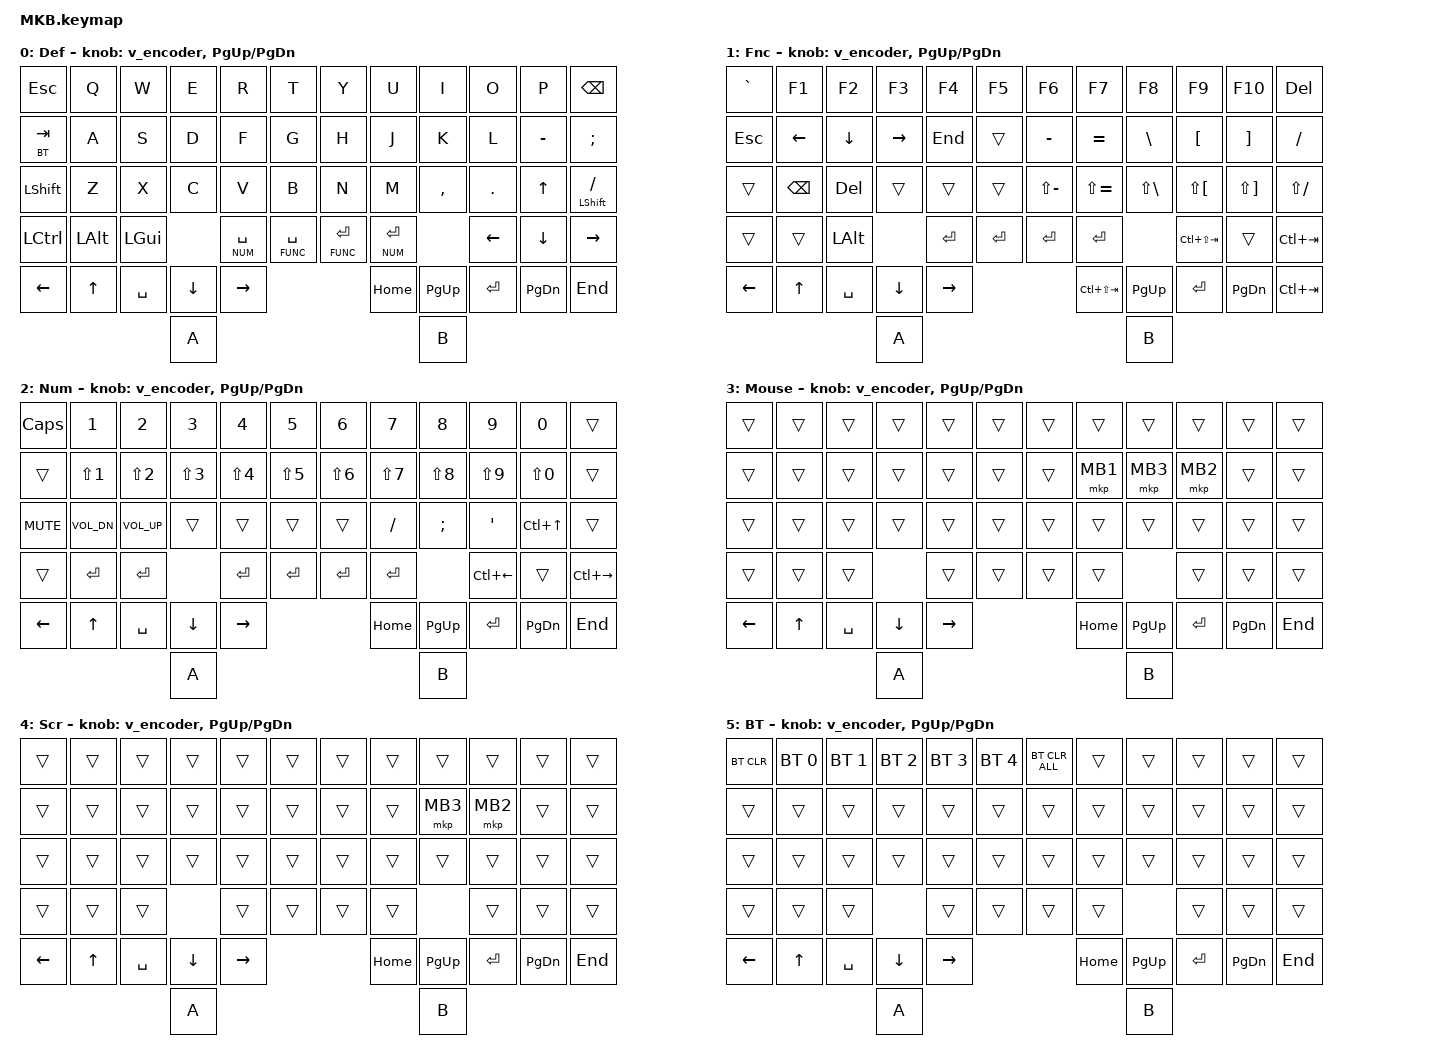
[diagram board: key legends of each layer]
#include <behaviors.dtsi>
#include <dt-bindings/zmk/bt.h>
#include <dt-bindings/zmk/keys.h>
#include <dt-bindings/zmk/pointing.h>
#include <layout_shift_kp_override.dtsi>

#define DEF 0
#define FUNC 1
#define NUM 2
#define MOUSE 3
#define SCROLL 4
#define BT 5

&mt {
    flavor = "balanced";
    tapping-term-ms = <280>;
    quick-tap-ms = <175>;
    require-prior-idle-ms = <150>;
};

/ {
    macros {
        vol_up_2: vol_up_2 {
            compatible = "zmk,behavior-macro";
            #binding-cells = <0>;
            bindings = <&kp C_VOL_UP &kp C_VOL_UP>;
        };
        vol_dn_2: vol_dn_2 {
            compatible = "zmk,behavior-macro";
            #binding-cells = <0>;
            bindings = <&kp C_VOL_DN &kp C_VOL_DN>;
        };
    };

    behaviors {
        v_encoder: volume_encoder {
            compatible = "zmk,behavior-sensor-rotate";
            #sensor-binding-cells = <0>;
            bindings = <&vol_dn_2>, <&vol_up_2>;
            tap-ms = <20>;
        };

        /* 右手側ビルド時のみマクロを定義 */
#ifdef MKB_R_TB
        scr_on: scr_on {
            compatible = "zmk,behavior-macro";
            #binding-cells = <0>;
            bindings = <&macro_tap &scroll_mode>;
        };
#endif /* これが漏れていました */
    };

    combos {
        compatible = "zmk,combos";
        combo_lclk { timeout-ms = <50>; key-positions = <19 20>; bindings = <&mkp LCLK>; };
        combo_rclk { timeout-ms = <50>; key-positions = <20 21>; bindings = <&mkp RCLK>; };
        combo_mclk { timeout-ms = <50>; key-positions = <19 21>; bindings = <&mkp MCLK>; };
    };

    keymap {
        compatible = "zmk,keymap";

        default_layer {
            label = "Def";
            bindings = <
&kp ESC       &kp Q     &kp W      &kp E     &kp R          &kp T               &kp Y           &kp U          &kp I      &kp O      &kp P      &kp BKSP
&lt BT TAB    &kp A     &kp S      &kp D     &kp F          &kp G               &kp H           &kp J          &kp K      &kp L      &kp MINUS  &kp SEMI
&kp LSHFT     &kp Z     &kp X      &kp C     &kp V          &kp B               &kp N           &kp M          &kp COMMA  &kp DOT    &kp UP     &mt LSHFT FSLH
&kp LCTL      &kp LALT  &kp LGUI             &lt NUM SPACE  &lt FUNC SPACE      &lt FUNC ENTER  &lt NUM ENTER             &kp LEFT   &kp DOWN   &kp RIGHT
&kp LEFT      &kp UP    &kp SPACE  &kp DOWN  &kp RIGHT                                          &kp HOME       &kp PG_UP  &kp ENTER  &kp PG_DN  &kp END
                                   &kp A                                                                       &kp B
            >;
            sensor-bindings = <&v_encoder &inc_dec_kp PG_UP PG_DN>;
        };

        function_layer {
            label = "Fnc";
            bindings = <
&kp GRAVE  &kp F1     &kp F2     &kp F3     &kp F4     &kp F5        &kp F6     &kp F7     &kp F8     &kp F9     &kp F10    &kp DEL
&kp ESC    &kp LEFT   &kp DOWN   &kp RIGHT  &kp END    &trans         &kp MINUS  &kp EQUAL  &kp BSLH   &kp LBKT   &kp RBKT   &kp FSLH
&trans     &kp BKSP   &kp DEL    &trans     &trans     &trans         &kp LS(MINUS) &kp LS(EQUAL) &kp LS(BSLH) &kp LS(LBKT) &kp LS(RBKT) &kp LS(FSLH)
&trans     &trans     &kp LALT              &kp ENTER  &kp ENTER      &kp ENTER  &kp ENTER             &kp LC(LS(TAB)) &trans     &kp LC(TAB)
&kp LEFT   &kp UP     &kp SPACE  &kp DOWN   &kp RIGHT                            &kp LC(LS(TAB)) &kp PG_UP  &kp ENTER  &kp PG_DN  &kp LC(TAB)
                                 &kp A                                                      &kp B
            >;
            sensor-bindings = <&v_encoder &inc_dec_kp PG_UP PG_DN>;
        };

        num_layer {
            label = "Num";
            bindings = <
&kp CAPS         &kp N1         &kp N2     &kp N3    &kp N4     &kp N5         &kp N6     &kp N7     &kp N8     &kp N9     &kp N0     &trans
&trans           &kp LS(N1)     &kp LS(N2) &kp LS(N3) &kp LS(N4) &kp LS(N5)   &kp LS(N6) &kp LS(N7) &kp LS(N8) &kp LS(N9) &kp LS(N0) &trans
&kp C_MUTE       &kp C_VOL_DN   &kp C_VOL_UP &trans   &trans     &trans         &trans     &kp FSLH   &kp SEMI   &kp SQT    &kp LC(UP) &trans
&trans           &kp ENTER      &kp ENTER            &kp ENTER  &kp ENTER      &kp ENTER  &kp ENTER             &kp LC(LEFT) &trans     &kp LC(RIGHT)
&kp LEFT         &kp UP         &kp SPACE  &kp DOWN  &kp RIGHT                            &kp HOME   &kp PG_UP  &kp ENTER  &kp PG_DN  &kp END
                                           &kp A                                                     &kp B
            >;
            sensor-bindings = <&v_encoder &inc_dec_kp PG_UP PG_DN>;
        };

        mouse_layer {
            label = "Mouse";
            bindings = <
&trans    &trans  &trans     &trans    &trans     &trans      &trans  &trans    &trans     &trans     &trans     &trans
&trans    &trans  &trans     &trans    &trans     &trans      &trans  &mkp MB1   &mkp MB3   &mkp MB2  &trans     &trans
&trans    &trans  &trans     &trans    &trans     &trans      &trans  &trans    &trans     &trans     &trans     &trans
&trans    &trans  &trans               &trans     &trans      &trans  &trans               &trans     &trans     &trans
&kp LEFT  &kp UP  &kp SPACE  &kp DOWN  &kp RIGHT                      &kp HOME  &kp PG_UP  &kp ENTER  &kp PG_DN  &kp END
                             &kp A                                              &kp B
            >;
            sensor-bindings = <&v_encoder &inc_dec_kp PG_UP PG_DN>;
        };

        scroll_layer {
            label = "Scr";
            bindings = <
&trans    &trans  &trans     &trans    &trans     &trans      &trans  &trans       &trans     &trans     &trans     &trans
&trans    &trans  &trans     &trans    &trans     &trans      &trans  &trans       &mkp MB3   &mkp MB2   &trans     &trans
&trans    &trans  &trans     &trans    &trans     &trans      &trans  &trans       &trans     &trans     &trans     &trans
&trans    &trans  &trans               &trans     &trans      &trans  &trans               &trans     &trans     &trans
&kp LEFT  &kp UP  &kp SPACE  &kp DOWN  &kp RIGHT                      &kp HOME     &kp PG_UP  &kp ENTER  &kp PG_DN  &kp END
                             &kp A                                                 &kp B
            >;
            sensor-bindings = <&v_encoder &inc_dec_kp PG_UP PG_DN>;
        };

        bt_layer {
            label = "BT";
            bindings = <
&bt BT_CLR  &bt BT_SEL 0  &bt BT_SEL 1  &bt BT_SEL 2  &bt BT_SEL 3  &bt BT_SEL 4      &bt BT_CLR_ALL  &trans    &trans     &trans     &trans     &trans
&trans      &trans        &trans        &trans        &trans        &trans            &trans          &trans    &trans     &trans     &trans     &trans
&trans      &trans        &trans        &trans        &trans        &trans            &trans          &trans    &trans     &trans     &trans     &trans
&trans      &trans        &trans                      &trans        &trans            &trans          &trans               &trans     &trans     &trans
&kp LEFT    &kp UP        &kp SPACE     &kp DOWN      &kp RIGHT                                       &kp HOME  &kp PG_UP  &kp ENTER  &kp PG_DN  &kp END
                                        &kp A                                                                   &kp B
            >;
            sensor-bindings = <&v_encoder &inc_dec_kp PG_UP PG_DN>;
        };
    };
};
